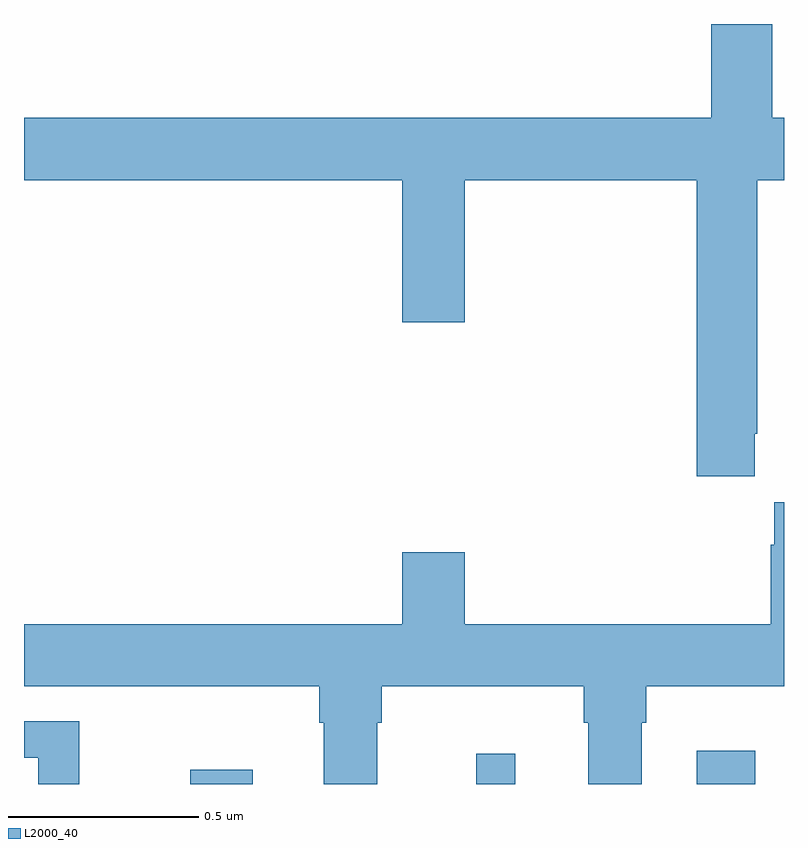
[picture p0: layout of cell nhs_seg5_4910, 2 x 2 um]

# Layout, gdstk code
import gdstk
lib = gdstk.Library(unit=1e-6, precision=1e-09)
def R(c, l, rs):  # rectangles x0, y0, x1, y1
    for r in rs: c.add(gdstk.rectangle(r[:2], r[2:], *l))
def P(c, l, *ps):  # polygons
    for p in ps: c.add(gdstk.Polygon(p, *l))
L2000_40 = (2000, 40)

nhs_seg5_4910 = lib.new_cell('nhs_seg5_4910')
R(nhs_seg5_4910, L2000_40, [(176.437,893.799,176.602,893.836), (177.19,893.799,177.293,893.878), (177.77,893.799,177.924,893.887)])
P(nhs_seg5_4910, L2000_40, [(177.923,894.721),(177.93,894.721),(177.93,895.388),(178,895.388),(178,895.552),(177.969,895.552),(177.969,895.799),(177.809,895.799),(177.809,895.552),(176,895.552),(176,895.388),(176.996,895.388),(176.996,895.014),(177.16,895.014),(177.16,895.388),(177.77,895.388),(177.77,894.609),(177.923,894.609)],
  [(176,894.056),(176.777,894.056),(176.777,893.96),(176.789,893.96),(176.789,893.799),(176.929,893.799),(176.929,893.96),(176.942,893.96),(176.942,894.056),(177.473,894.056),(177.473,893.96),(177.485,893.96),(177.485,893.799),(177.625,893.799),(177.625,893.96),(177.638,893.96),(177.638,894.056),(178,894.056),(178,894.541),(177.974,894.541),(177.974,894.428),(177.965,894.428),(177.965,894.22),(177.16,894.22),(177.16,894.409),(176.996,894.409),(176.996,894.22),(176,894.22)],
  [(176.146,893.964),(176,893.964),(176,893.868),(176.037,893.868),(176.037,893.799),(176.146,893.799)])

lib.write_gds('nhs_seg5_4910.gds')
